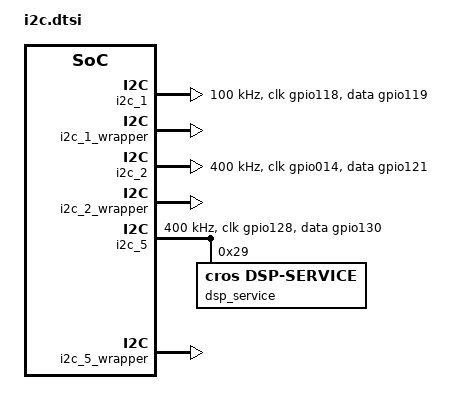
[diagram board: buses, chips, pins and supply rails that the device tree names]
/* Copyright 2026 The ChromiumOS Authors
 * Use of this source code is governed by a BSD-style license that can be
 * found in the LICENSE file.
 */

/ {
	named-i2c-ports {
		compatible = "named-i2c-ports";

		/* EC_BAT_SMB1 */
		i2c_ec_bat_smb1: ec_bat_smb1 {
			i2c-port = <&i2c_1>;
			enum-names = "I2C_PORT_BATTERY";
		};
		/* EC_SMB2 */
		i2c_ec_smb2: ec_smb2 {
			i2c-port = <&i2c_2>;
			enum-names = "I2C_PORT_PD";
		};
		/* EC_ISH */
		i2c_ec_i2c_sensor: ec_i2c_sensor {
			i2c-port = <&i2c_5>;
			enum-names = "I2C_PORT_SENSOR";
		};

	};
};

&i2c_1 {
	pinctrl-0 = <&i2c01_clk_gpio118
		     &i2c01_data_gpio119>;
	pinctrl-names = "default";

	label = "I2C_PORT_CHARGER";
	clock-frequency = <I2C_BITRATE_STANDARD>;
	status = "okay";
};

&i2c_1_wrapper {
	label = "I2C_BATTERY";
	label = "I2C_PORT_CHARGER";
	status = "okay";
	scl-gpios = <RTS5912_GPIO118 GPIO_ACTIVE_HIGH>;
	sda-gpios = <RTS5912_GPIO119 GPIO_ACTIVE_HIGH>;
};

&i2c_2 {
	pinctrl-0 = <&i2c02_clk_gpio014
		     &i2c02_data_gpio121>;
	pinctrl-names = "default";

	label = "I2C_PORT_PD";
	clock-frequency = <I2C_BITRATE_FAST>;
	status = "okay";
};

&i2c_2_wrapper {
	label = "I2C_PORT_PD";
	status = "okay";
	scl-gpios = <RTS5912_GPIO014 GPIO_ACTIVE_HIGH>;
	sda-gpios = <RTS5912_GPIO121 GPIO_ACTIVE_HIGH>;
};

&i2c_5 {
    label = "I2C_PORT_SENSOR";
    status = "okay";
    pinctrl-0 = <&i2c05_clk_gpio128 &i2c05_data_gpio130>;
    pinctrl-names = "default";
    clock-frequency = <I2C_BITRATE_FAST>;

    dsp_service: dsp-service@29 {
        compatible = "cros,dsp-service";
        reg = <0x29>;
        int-gpios = <RTS5912_GPIO126 (GPIO_ACTIVE_LOW | GPIO_VOLTAGE_1P8 | GPIO_OPEN_DRAIN)>;
    };
};

&i2c_5_wrapper {
	label = "I2C_PORT_SENSOR";
	status = "okay";
	scl-gpios = <RTS5912_GPIO128 GPIO_ACTIVE_HIGH>;
	sda-gpios = <RTS5912_GPIO130 GPIO_ACTIVE_HIGH>;
};
